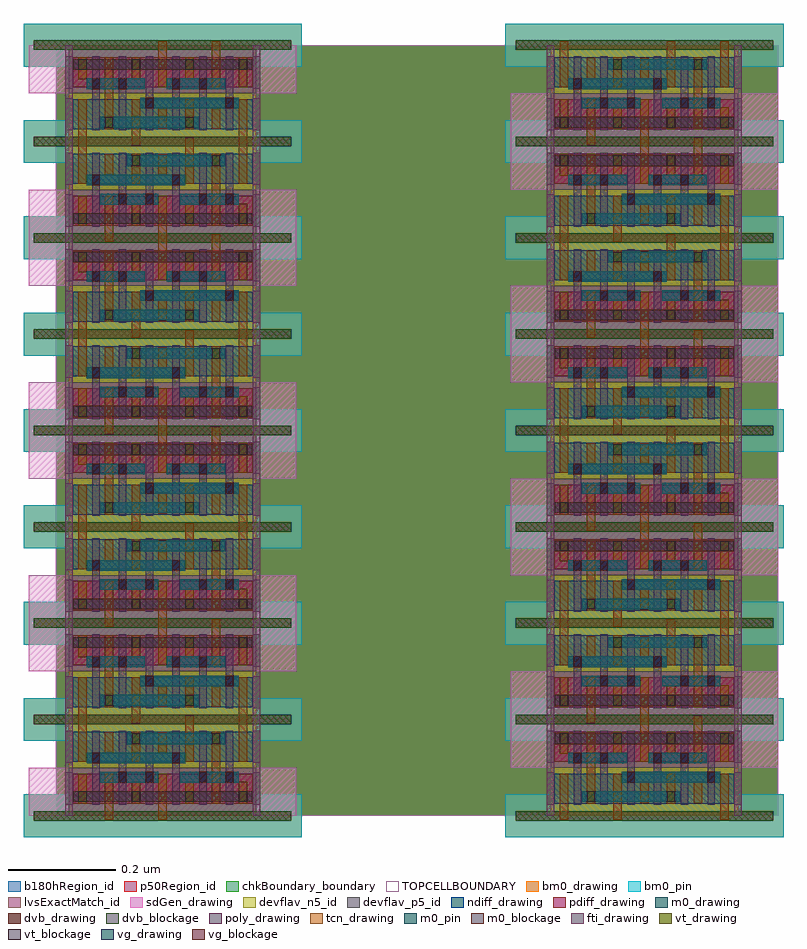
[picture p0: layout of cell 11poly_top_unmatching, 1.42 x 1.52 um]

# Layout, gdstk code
from math import pi, radians
import gdstk
lib = gdstk.Library(unit=1e-6, precision=5e-10)
def R(c, l, rs):  # rectangles x0, y0, x1, y1
    for r in rs: c.add(gdstk.rectangle(r[:2], r[2:], *l))
def A(c, l, x, y, w, h, nx, ny, dx, dy):  # array of equal rectangles
    R(c, l, [(x+i*dx, y+j*dy, x+i*dx+w, y+j*dy+h) for i in range(nx) for j in range(ny)])
ndiff_drawing = (1, 0)
poly_drawing = (2, 0)
tcn_drawing = (5, 0)
pdiff_drawing = (8, 0)
sdGen_drawing = (11, 0)
vt_drawing = (31, 0)
vt_blockage = (31, 1)
vg_drawing = (32, 0)
vg_blockage = (32, 1)
chkBoundary_boundary = (50, 0)
TOPCELLBOUNDARY = (50, 99)
m0_drawing = (55, 0)
m0_blockage = (55, 1)
m0_pin = (55, 2)
lvsExactMatch_id = (81, 434)
b180hRegion_id = (82, 137)
p50Region_id = (82, 420)
fti_drawing = (184, 0)
devflav_n5_id = (273, 170)
devflav_p5_id = (273, 171)
bm0_drawing = (366, 0)
bm0_pin = (366, 2)
dvb_drawing = (474, 0)
dvb_blockage = (474, 1)

ibmaoi012aa1n06x5 = lib.new_cell('ibmaoi012aa1n06x5')
R(ibmaoi012aa1n06x5, ndiff_drawing, [(0.007,0.023,0.343,0.079)])
A(ibmaoi012aa1n06x5, poly_drawing, 0.043, 0.021, 0.014, 0.138, 6, 1, 0.05, 0)
R(ibmaoi012aa1n06x5, poly_drawing, [(-0.007,0.021,0.007,0.081), (0.343,0.021,0.357,0.081), (-0.007,0.099,0.007,0.159), (0.343,0.099,0.357,0.159)])
A(ibmaoi012aa1n06x5, tcn_drawing, 0.017, 0.116, 0.016, 0.041, 3, 1, 0.1, 0)
R(ibmaoi012aa1n06x5, tcn_drawing, [(0.017,-0.007,0.033,0.079), (0.117,-0.007,0.133,0.079), (0.317,-0.007,0.333,0.079), (0.067,0.023,0.083,0.157), (0.217,0.023,0.233,0.079), (0.167,0.024,0.183,0.064), (0.267,0.024,0.283,0.064), (0.167,0.101,0.183,0.187), (0.267,0.101,0.283,0.187), (0.317,0.101,0.333,0.157)])
R(ibmaoi012aa1n06x5, pdiff_drawing, [(0.007,0.101,0.343,0.157)])
R(ibmaoi012aa1n06x5, sdGen_drawing, [(-0.075,0.09,0.425,0.18)])
A(ibmaoi012aa1n06x5, vt_drawing, 0.017, 0.134, 0.016, 0.02, 4, 1, 0.1, 0)
R(ibmaoi012aa1n06x5, vt_drawing, [(0.067,0.026,0.083,0.046), (0.217,0.026,0.233,0.046)])
A(ibmaoi012aa1n06x5, vt_blockage, 0.017, 0.134, 0.016, 0.02, 4, 1, 0.1, 0)
R(ibmaoi012aa1n06x5, vt_blockage, [(0.067,0.026,0.083,0.046), (0.217,0.026,0.233,0.046)])
R(ibmaoi012aa1n06x5, vg_drawing, [(0.143,0.062,0.157,0.082), (0.293,0.062,0.307,0.082), (0.043,0.098,0.057,0.118), (0.093,0.098,0.107,0.118), (0.193,0.098,0.207,0.118), (0.243,0.098,0.257,0.118)])
R(ibmaoi012aa1n06x5, vg_blockage, [(0.143,0.062,0.157,0.082), (0.293,0.062,0.307,0.082), (0.043,0.098,0.057,0.118), (0.093,0.098,0.107,0.118), (0.193,0.098,0.207,0.118), (0.243,0.098,0.257,0.118)])
R(ibmaoi012aa1n06x5, chkBoundary_boundary, [(0,0,0.35,0.18)])
R(ibmaoi012aa1n06x5, m0_drawing, [(0.058,0.026,0.242,0.046), (0.133,0.062,0.317,0.082), (0.033,0.098,0.142,0.118), (0.183,0.098,0.292,0.118), (0.008,0.134,0.342,0.154)])
R(ibmaoi012aa1n06x5, m0_blockage, [(0.008,0.134,0.342,0.154)])
R(ibmaoi012aa1n06x5, m0_pin, [(0.058,0.026,0.242,0.046), (0.133,0.062,0.317,0.082), (0.033,0.098,0.142,0.118), (0.183,0.098,0.292,0.118)])
R(ibmaoi012aa1n06x5, lvsExactMatch_id, [(0,0,0.35,0.18)])
R(ibmaoi012aa1n06x5, b180hRegion_id, [(-0.025,0,0.375,0.18)])
R(ibmaoi012aa1n06x5, p50Region_id, [(-0.025,0,0.375,0.18)])
R(ibmaoi012aa1n06x5, fti_drawing, [(-0.007,0,0.007,0.18), (0.343,0,0.357,0.18)])
R(ibmaoi012aa1n06x5, devflav_n5_id, [(0,0,0.35,0.09)])
R(ibmaoi012aa1n06x5, devflav_p5_id, [(0,0.09,0.35,0.18)])
R(ibmaoi012aa1n06x5, bm0_drawing, [(-0.085,-0.04,0.435,0.04), (-0.085,0.14,0.435,0.22)])
R(ibmaoi012aa1n06x5, bm0_pin, [(-0.085,-0.04,0.435,0.04), (-0.085,0.14,0.435,0.22)])
R(ibmaoi012aa1n06x5, dvb_drawing, [(-0.0655,-0.009,0.4155,0.009), (-0.0655,0.171,0.4155,0.189)])
R(ibmaoi012aa1n06x5, dvb_blockage, [(-0.0655,-0.009,0.4155,0.009), (-0.0655,0.171,0.4155,0.189)])
ibmaoi012aa1n06x5.add(gdstk.Label('a', (0.1,0.09), layer=2, texttype=0))
ibmaoi012aa1n06x5.add(gdstk.Label('c', (0.15,0.09), layer=2, texttype=0))
ibmaoi012aa1n06x5.add(gdstk.Label('b', (0.2,0.09), layer=2, texttype=0))
ibmaoi012aa1n06x5.add(gdstk.Label('b', (0.25,0.09), layer=2, texttype=0))
ibmaoi012aa1n06x5.add(gdstk.Label('c', (0.3,0.09), layer=2, texttype=0))
ibmaoi012aa1n06x5.add(gdstk.Label('a', (0.05,0.09), layer=2, texttype=0))
ibmaoi012aa1n06x5.add(gdstk.Label('o1', (0.075,0.09), layer=5, texttype=0))
ibmaoi012aa1n06x5.add(gdstk.Label('vssx', (0.125,0.036), layer=5, texttype=0))
ibmaoi012aa1n06x5.add(gdstk.Label('o1', (0.225,0.051), layer=5, texttype=0))
ibmaoi012aa1n06x5.add(gdstk.Label('n2b', (0.175,0.044), layer=5, texttype=0))
ibmaoi012aa1n06x5.add(gdstk.Label('n1', (0.125,0.1365), layer=5, texttype=0))
ibmaoi012aa1n06x5.add(gdstk.Label('n1', (0.225,0.1365), layer=5, texttype=0))
ibmaoi012aa1n06x5.add(gdstk.Label('vssx', (0.025,0.036), layer=5, texttype=0))
ibmaoi012aa1n06x5.add(gdstk.Label('n1', (0.325,0.129), layer=5, texttype=0))
ibmaoi012aa1n06x5.add(gdstk.Label('vssx', (0.325,0.036), layer=5, texttype=0))
ibmaoi012aa1n06x5.add(gdstk.Label('vcc', (0.275,0.144), layer=5, texttype=0))
ibmaoi012aa1n06x5.add(gdstk.Label('n2a', (0.275,0.044), layer=5, texttype=0))
ibmaoi012aa1n06x5.add(gdstk.Label('vcc', (0.175,0.144), layer=5, texttype=0))
ibmaoi012aa1n06x5.add(gdstk.Label('n1', (0.025,0.1365), layer=5, texttype=0))
ibmaoi012aa1n06x5.add(gdstk.Label('o1', (0.15,0.036), layer=55, texttype=0))
ibmaoi012aa1n06x5.add(gdstk.Label('c', (0.225,0.072), layer=55, texttype=0))
ibmaoi012aa1n06x5.add(gdstk.Label('a', (0.0875,0.108), layer=55, texttype=0))
ibmaoi012aa1n06x5.add(gdstk.Label('b', (0.2375,0.108), layer=55, texttype=0))
ibmaoi012aa1n06x5.add(gdstk.Label('o1', (0.15,0.036), layer=55, texttype=0))
ibmaoi012aa1n06x5.add(gdstk.Label('a', (0.0875,0.108), layer=55, texttype=0))
ibmaoi012aa1n06x5.add(gdstk.Label('c', (0.225,0.072), layer=55, texttype=0))
ibmaoi012aa1n06x5.add(gdstk.Label('b', (0.2375,0.108), layer=55, texttype=0))
ibmaoi012aa1n06x5.add(gdstk.Label('n1', (0.175,0.144), layer=55, texttype=0))
ibmaoi012aa1n06x5.add(gdstk.Label('o1', (0.15,0.036), layer=55, texttype=2))
ibmaoi012aa1n06x5.add(gdstk.Label('c', (0.225,0.072), layer=55, texttype=2))
ibmaoi012aa1n06x5.add(gdstk.Label('a', (0.0875,0.108), layer=55, texttype=2))
ibmaoi012aa1n06x5.add(gdstk.Label('b', (0.2375,0.108), layer=55, texttype=2))
ibmaoi012aa1n06x5.add(gdstk.Label('vssx', (0.175,0), layer=366, texttype=0))
ibmaoi012aa1n06x5.add(gdstk.Label('vcc', (0.175,0.18), layer=366, texttype=0))
ibmaoi012aa1n06x5.add(gdstk.Label('vcc', (0.175,0.18), layer=366, texttype=0))
ibmaoi012aa1n06x5.add(gdstk.Label('vssx', (0.175,0), layer=366, texttype=0))
ibmaoi012aa1n06x5.add(gdstk.Label('vssx', (0.175,0), layer=366, texttype=2))
ibmaoi012aa1n06x5.add(gdstk.Label('vcc', (0.175,0.18), layer=366, texttype=2))

c_11poly_top_unmatching = lib.new_cell('11poly_top_unmatching')
R(c_11poly_top_unmatching, chkBoundary_boundary, [(0,0,1.35,1.44)])
R(c_11poly_top_unmatching, TOPCELLBOUNDARY, [(0,0,1.35,1.44)])
R(c_11poly_top_unmatching, b180hRegion_id, [(0,0,1.35,1.44)])
R(c_11poly_top_unmatching, p50Region_id, [(0,0,1.35,1.44)])
c_11poly_top_unmatching.add(gdstk.Reference(ibmaoi012aa1n06x5, (0.025,0.54)))
c_11poly_top_unmatching.add(gdstk.Reference(ibmaoi012aa1n06x5, (0.025,0.18)))
c_11poly_top_unmatching.add(gdstk.Reference(ibmaoi012aa1n06x5, (0.925,0)))
c_11poly_top_unmatching.add(gdstk.Reference(ibmaoi012aa1n06x5, (0.375,0.18), rotation=pi))
c_11poly_top_unmatching.add(gdstk.Reference(ibmaoi012aa1n06x5, (1.275,0.36), rotation=pi))
c_11poly_top_unmatching.add(gdstk.Reference(ibmaoi012aa1n06x5, (0.925,0.36)))
c_11poly_top_unmatching.add(gdstk.Reference(ibmaoi012aa1n06x5, (0.375,0.54), rotation=pi))
c_11poly_top_unmatching.add(gdstk.Reference(ibmaoi012aa1n06x5, (1.275,0.72), rotation=pi))
c_11poly_top_unmatching.add(gdstk.Reference(ibmaoi012aa1n06x5, (0.025,0.9)))
c_11poly_top_unmatching.add(gdstk.Reference(ibmaoi012aa1n06x5, (0.925,0.72)))
c_11poly_top_unmatching.add(gdstk.Reference(ibmaoi012aa1n06x5, (0.375,0.9), rotation=pi))
c_11poly_top_unmatching.add(gdstk.Reference(ibmaoi012aa1n06x5, (1.275,1.08), rotation=pi))
c_11poly_top_unmatching.add(gdstk.Reference(ibmaoi012aa1n06x5, (0.925,1.08)))
c_11poly_top_unmatching.add(gdstk.Reference(ibmaoi012aa1n06x5, (0.375,1.26), rotation=pi))
c_11poly_top_unmatching.add(gdstk.Reference(ibmaoi012aa1n06x5, (1.275,1.44), rotation=pi))
c_11poly_top_unmatching.add(gdstk.Reference(ibmaoi012aa1n06x5, (0.025,1.26)))

lib.write_gds('11poly_top_unmatching.gds')
